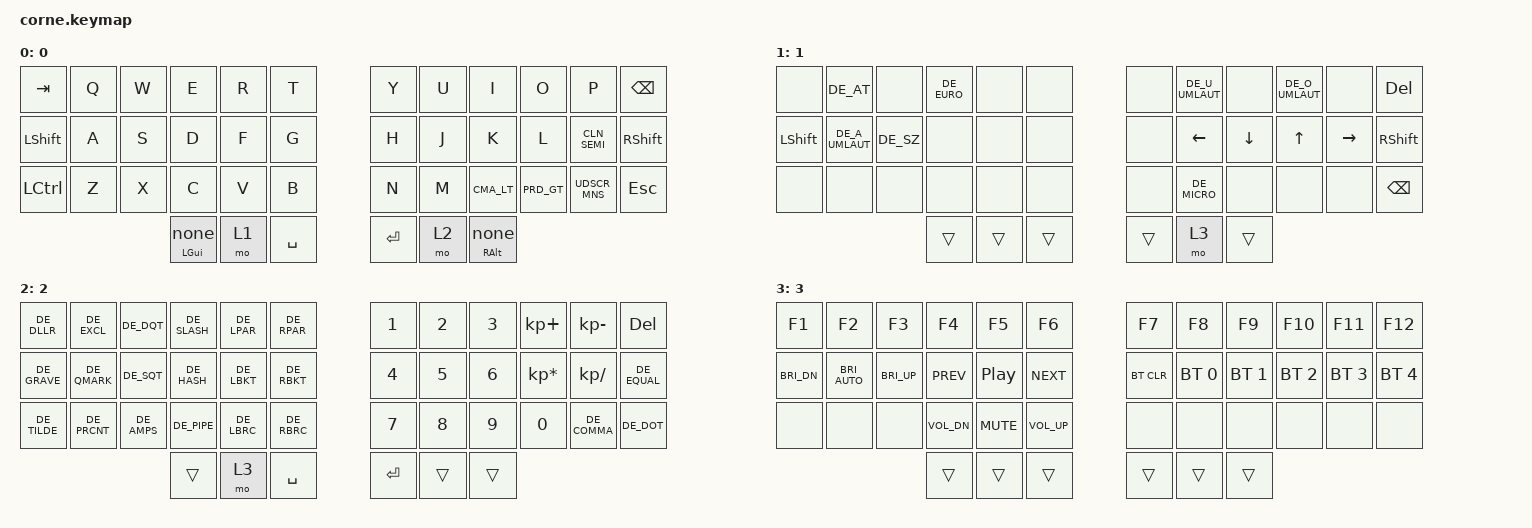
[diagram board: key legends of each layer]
/*
 * Copyright (c) 2020 The ZMK Contributors
 *
 * SPDX-License-Identifier: MIT
 */

#include <behaviors.dtsi>
#include <dt-bindings/zmk/bt.h>
#include <dt-bindings/zmk/keys.h>
#include <dt-bindings/zmk/behaviors.h>
#include "keys_de.h"

/ {
    macros {
        SHFT_UDSCR: SHFT_UDSCR {
            compatible = "zmk,behavior-macro";
            #binding-cells = <0>;
            bindings = <&macro_tap>, <&kp DE_UNDER>;
        };
        
        SHFT_MNS: SHFT_MNS {
            compatible = "zmk,behavior-macro";
            #binding-cells = <0>;
            bindings = <&macro_tap>, <&kp DE_MINUS>;
        };
        
        SHFT_CMA: SHFT_CMA {
            compatible = "zmk,behavior-macro";
            #binding-cells = <0>;
            bindings = <&macro_tap>, <&kp DE_COMMA>;
        };
        
        SHFT_LT: SHFT_LT {
            compatible = "zmk,behavior-macro";
            #binding-cells = <0>;
            bindings = <&macro_tap>, <&kp DE_LT>;
        };
        
        SHFT_PRD: SHFT_PRD {
            compatible = "zmk,behavior-macro";
            #binding-cells = <0>;
            bindings = <&macro_tap>, <&kp DE_DOT>;
        };
        
        SHFT_GT: SHFT_GT {
            compatible = "zmk,behavior-macro";
            #binding-cells = <0>;
            bindings = <&macro_tap>, <&kp DE_GT>;
        };
        
        SHFT_CLN: SHFT_CLN {
            compatible = "zmk,behavior-macro";
            #binding-cells = <0>;
            bindings = <&macro_tap>, <&kp DE_COLON>;
        };
        
        SHFT_SEMI: SHFT_SEMI {
            compatible = "zmk,behavior-macro";
            #binding-cells = <0>;
            bindings = <&macro_tap>, <&kp DE_SEMI>;
        };
    };
    
    behaviors {
        UDSCR_MNS: UDSCR_MNS {
            compatible = "zmk,behavior-mod-morph";
            #binding-cells = <0>;
            bindings = <&SHFT_UDSCR>, <&SHFT_MNS>;
            mods = <(MOD_LSFT|MOD_RSFT)>;
        };

        CMA_LT: CMA_LT {
            compatible = "zmk,behavior-mod-morph";
            #binding-cells = <0>;
            bindings = <&SHFT_CMA>, <&SHFT_LT>;
            mods = <(MOD_LSFT|MOD_RSFT)>;
        };
        
        PRD_GT: PRD_GT {
            compatible = "zmk,behavior-mod-morph";
            #binding-cells = <0>;
            bindings = <&SHFT_PRD>, <&SHFT_GT>;
            mods = <(MOD_LSFT|MOD_RSFT)>;
        };
        
        CLN_SEMI: CLN_SEMI {
            compatible = "zmk,behavior-mod-morph";
            #binding-cells = <0>;
            // Direkt statt über Makros (SHFT_CLN/SHFT_SEMI) — Makros ließen
            // extern gehaltene Modifier (Super+Ctrl) fallen, was WM-Binds zerlegte.
            bindings = <&kp DE_COLON>, <&kp DE_SEMI>;
            mods = <(MOD_LSFT|MOD_RSFT)>;
        };

        delayed: delayed {
            compatible = "zmk,behavior-hold-tap";
            #binding-cells = <2>;
            flavor = "tap-preferred";
            tapping-term-ms = <200>;
            bindings = <&kp>, <&none>;
        };
    };

    keymap {
        compatible = "zmk,keymap";

        layer_0 {
            // -----------------------------------------------------------------------------------------
            // |  TAB |  Q  |  W  |  E  |  R  |  T  |   |  Z  |  U   |  I   |  O   |  P   | BKSP |
            // | SHFT |  A  |  S  |  D  |  F  |  G  |   |  H  |  J   |  K   |  L   |  :;  | SHFT |
            // | CTRL |  Y  |  X  |  C  |  V  |  B  |   |  N  |  M   |  ,<  |  .>  |  _-  | ESC  |
            //                    | GUI |  M1 | SPC |   | ENT |  M2  | ALT |

            display-name = "0";
            bindings = <
&kp TAB    &kp Q  &kp W  &kp E            &kp R  &kp T        &kp Y    &kp U  &kp I          &kp O    &kp P       &kp BSPC
&kp LSHFT  &kp A  &kp S  &kp D            &kp F  &kp G        &kp H    &kp J  &kp K          &kp L    &CLN_SEMI   &kp RSHIFT
&kp LCTRL  &kp Z  &kp X  &kp C            &kp V  &kp B        &kp N    &kp M  &CMA_LT        &PRD_GT  &UDSCR_MNS  &kp ESC
                         &delayed LGUI 0  &mo 1  &kp SPACE    &kp RET  &mo 2  &delayed RALT 0
            >;
        };

        layer_1 {
            // -----------------------------------------------------------------------------------------
            // |     |  @  |     |  €  |     |     |   |     |   ü  |      |  ö  |       | DEL  |
            // | SHFT|  ä  |  ß  |     |     |     |   |     | LEFT | DOWN |  UP | RIGHT | SHFT |
            // |     |     |     |     |     |     |   |     |  µ   |      |     |       | BSPC |
            //                   |     |     |     |   |     |  M3  |      |
            display-name = "1";
            bindings = <
&none      &kp DE_AT        &none      &kp DE_EURO  &none   &none    &none   &kp DE_U_UMLAUT   &none     &kp DE_O_UMLAUT  &none      &kp DEL
&kp LSHFT  &kp DE_A_UMLAUT  &kp DE_SZ  &none        &none   &none    &none   &kp LEFT          &kp DOWN  &kp UP           &kp RIGHT  &kp RSHIFT
&none      &none            &none      &none        &none   &none    &none   &kp DE_MICRO      &none     &none            &none      &kp BSPC
                                       &trans       &trans  &trans   &trans  &mo 3             &trans
            >;
        };

        layer_2 {
            // -----------------------------------------------------------------------------------------
            // |  $   |  !  |  "  |  \  |  (  |  )  |   |  1  |  2  |  3  |  +  |  -  | DEL |
            // |  `   |  ?  |  '  |  #  |  [  |  ]  |   |  4  |  5  |  6  |  *  |  /  |  =  |
            // |  ~   |  %  |  &  | "|" |  {  |  }  |   |  7  |  8  |  9  |  0  |  ,  |  .  |
            //                    |     |  M3 | SPC |   | ENT |     |     |

            display-name = "2";
            bindings = <
&kp DE_DLLR   &kp DE_EXCL   &kp DE_DQT   &kp DE_SLASH  &kp DE_LPAR  &kp DE_RPAR      &kp N1   &kp N2  &kp N3  &kp KP_PLUS      &kp KP_MINUS  &kp DEL
&kp DE_GRAVE  &kp DE_QMARK  &kp DE_SQT   &kp DE_HASH   &kp DE_LBKT  &kp DE_RBKT      &kp N4   &kp N5  &kp N6  &kp KP_MULTIPLY  &kp KP_DIVIDE &kp DE_EQUAL
&kp DE_TILDE  &kp DE_PRCNT  &kp DE_AMPS  &kp DE_PIPE   &kp DE_LBRC  &kp DE_RBRC      &kp N7   &kp N8  &kp N9  &kp N0           &kp DE_COMMA  &kp DE_DOT
                                         &trans         &mo 3       &kp SPACE        &kp RET  &trans  &trans
            >;
        };

        layer_3 {
            // -----------------------------------------------------------------------------------------
            // |   F1   |    F2    |    F3  |   F4   |    F5  |    F6  |   | F7     |    F8    |   F9   |  F10   |   F11  |  F12   |
            // | BRI_DN | BRI_AUTO | BRI_UP |  PREV  |   PP   |  NEXT  |   |  BTCLR |    BT1   |   BT2  |   BT3  |   BT4  |   BT5  |
            // |        |          |        | VOL_DN |  MUTE  | VOL_UP |   |        |          |        |        |        |        |
            // |        |          |        |        |        |        |   |        |          |        |        |        |        |
            //                              |        |        |        |   |        |          |        |
            display-name = "3"; 
            bindings = <
&kp F1        &kp F2          &kp F3        &kp F4        &kp F5      &kp F6        &kp F7      &kp F8        &kp F9        &kp F10       &kp F11       &kp F12
&kp C_BRI_DN  &kp C_BRI_AUTO  &kp C_BRI_UP  &kp C_PREV    &kp C_PP    &kp C_NEXT    &bt BT_CLR  &bt BT_SEL 0  &bt BT_SEL 1  &bt BT_SEL 2  &bt BT_SEL 3  &bt BT_SEL 4 
&none       &none         &none             &kp C_VOL_DN  &kp C_MUTE  &kp C_VOL_UP  &none       &none         &none         &none         &none         &none
                                            &trans        &trans      &trans        &trans      &trans        &trans
            >;
        };
    };
};
